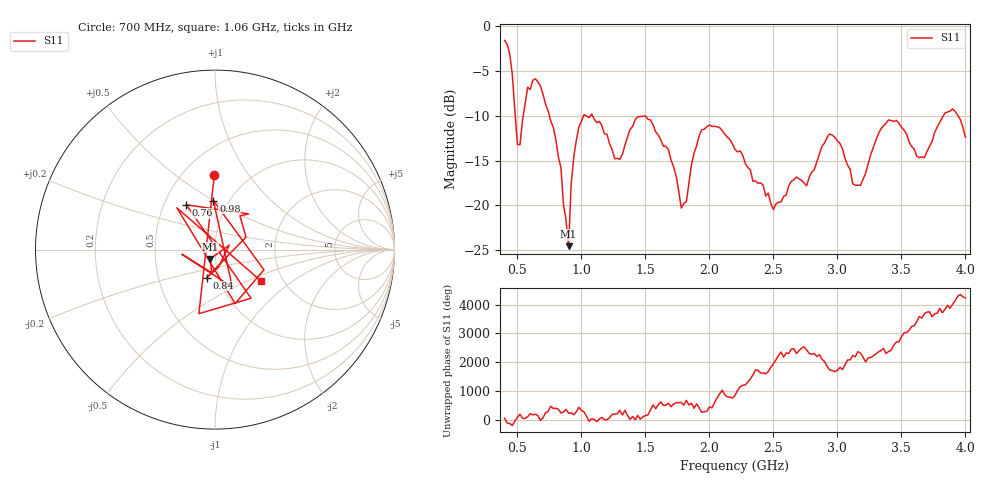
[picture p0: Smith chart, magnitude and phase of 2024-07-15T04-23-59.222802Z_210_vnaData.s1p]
!Created with skrf (http://scikit-rf.org).
# Hz S RI R 50.0
!freq ReS11 ImS11
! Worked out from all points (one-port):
!   181 points, 400 MHz to 4 GHz, reference 50 ohm
!   lowest |S11| = -24.6 dB at 900 MHz (marker M1), VSWR 1.13, Z = 47.1 - j4.94 ohm
!   |S11| at or under -10 dB: 483.2 MHz to 545.3 MHz (62.14 MHz wide, 12.1 % of centre); 750 MHz to 1.017 GHz (266.6 MHz wide, 30.2 % of centre); 1.087 GHz to 3.828 GHz (2.741 GHz wide, 112 % of centre) (the widest 3 of 5)
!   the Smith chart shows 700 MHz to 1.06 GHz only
!   S11 on the Smith chart (normalised r, x): 700 MHz: 0.70, +0.71; 760 MHz: 0.65, +0.35; 840 MHz: 0.87, -0.28; 980 MHz: 0.85, +0.50; 1.06 GHz: 1.55, -0.60
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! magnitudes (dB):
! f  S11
! 400 MHz  -1.6
! 460 MHz  -5.4
! 500 MHz  -13.2
! 580 MHz  -6.8
! 700 MHz  -7.6
! 760 MHz  -10.6
! 840 MHz  -15.8
! 860 MHz  -20.0
! 900 MHz  -24.6
! 920 MHz  -17.7
! 980 MHz  -11.3
! 1.06 GHz  -10.2
! 1.3 GHz  -14.9
! 1.5 GHz  -10.0
! 1.76 GHz  -18.4
! 1.82 GHz  -19.6
! 1.94 GHz  -11.6
! 2.2 GHz  -13.7
! 2.5 GHz  -20.5
! 2.66 GHz  -17.2
! 2.94 GHz  -12.0
! 3.1 GHz  -16.0
! 3.18 GHz  -17.8
! 3.4 GHz  -10.5
! 3.56 GHz  -12.9
! 3.68 GHz  -14.7
! 3.9 GHz  -9.2
! 4 GHz  -12.4
